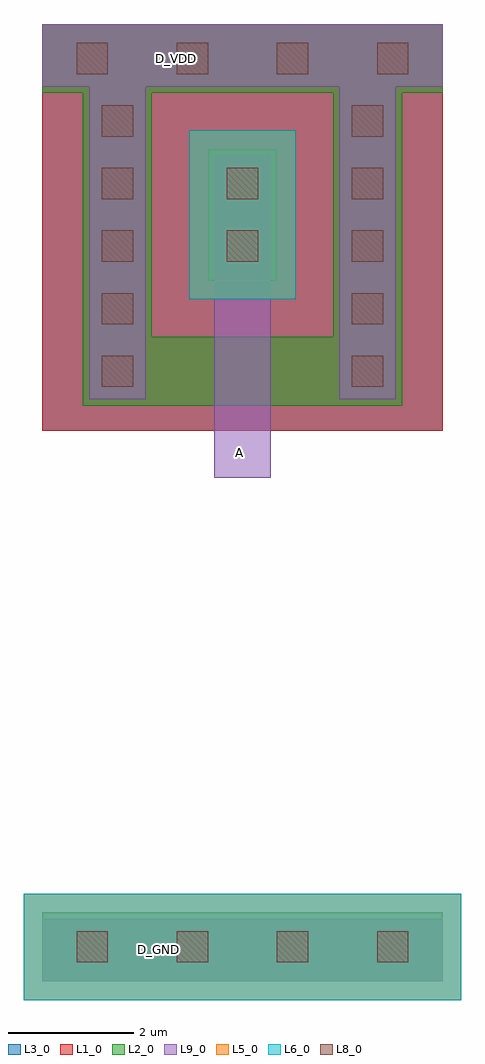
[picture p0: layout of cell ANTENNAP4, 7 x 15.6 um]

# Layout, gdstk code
import gdstk
lib = gdstk.Library(unit=1e-6, precision=1e-09)
def R(c, l, rs):  # rectangles x0, y0, x1, y1
    for r in rs: c.add(gdstk.rectangle(r[:2], r[2:], *l))
def A(c, l, x, y, w, h, nx, ny, dx, dy):  # array of equal rectangles
    R(c, l, [(x+i*dx, y+j*dy, x+i*dx+w, y+j*dy+h) for i in range(nx) for j in range(ny)])
def P(c, l, *ps):  # polygons
    for p in ps: c.add(gdstk.Polygon(p, *l))
L1_0 = (1, 0)
L2_0 = (2, 0)
L3_0 = (3, 0)
L5_0 = (5, 0)
L6_0 = (6, 0)
L8_0 = (8, 0)
L9_0 = (9, 0)

antennap4 = lib.new_cell('ANTENNAP4')
A(antennap4, L1_0, 0, 8.8, 1.6, 6.5, 4, 1, 1.6, 0)
A(antennap4, L2_0, 0, 0, 1.6, 1.1, 4, 2, 1.6, 14.2)
R(antennap4, L2_0, [(2.65,11.2,3.75,12.3), (2.65,12.2,3.75,13.3)])
P(antennap4, L2_0, [(5.75,9.2),(5.75,14.2),(4.65,14.2),(4.65,10.3),(1.75,10.3),(1.75,14.2),(5.75,14.2),(5.75,15.3),(0.65,15.3),(0.65,9.2)])
A(antennap4, L3_0, 0, 8.8, 1.6, 6.5, 4, 1, 1.6, 0)
R(antennap4, L5_0, [(-0.3,-0.3,1.6,1.4), (1.6,-0.3,3.2,1.4), (3.2,-0.3,4.8,1.4), (4.8,-0.3,6.7,1.4), (2.35,10.9,4.05,12.6), (2.35,11.9,4.05,13.6)])
R(antennap4, L6_0, [(-0.3,-0.3,1.6,1.4), (1.6,-0.3,3.2,1.4), (3.2,-0.3,4.8,1.4), (4.8,-0.3,6.7,1.4), (2.35,10.9,4.05,12.6), (2.35,11.9,4.05,13.6)])
A(antennap4, L8_0, 0.55, 0.3, 0.5, 0.5, 4, 2, 1.6, 14.2)
A(antennap4, L8_0, 0.95, 11.5, 0.5, 0.5, 3, 2, 2, 1)
R(antennap4, L8_0, [(0.95,9.5,1.45,10), (4.95,9.5,5.45,10), (0.95,10.5,1.45,11), (4.95,10.5,5.45,11), (0.95,13.5,1.45,14), (4.95,13.5,5.45,14)])
A(antennap4, L9_0, 0, 0, 1.6, 1, 4, 2, 1.6, 14.3)
R(antennap4, L9_0, [(1.4,0.05,2.3,0.95), (2.75,8.05,3.65,8.95), (2.75,8.05,3.65,12.2), (2.75,11.3,3.65,12.2), (2.75,12.2,3.65,12.3), (2.75,12.3,3.65,13.2), (1.7,14.3,2.6,15.2)])
P(antennap4, L9_0, [(1.65,9.3),(1.65,14.3),(4.75,14.3),(4.75,9.3),(5.65,9.3),(5.65,15.2),(5.6,15.2),(5.6,15),(0.75,15),(0.75,9.3)])
antennap4.add(gdstk.Label('D_GND', (1.85,0.5), layer=50, texttype=0))
antennap4.add(gdstk.Label('D_VDD', (2.15,14.75), layer=50, texttype=0))
antennap4.add(gdstk.Label('A', (3.15,8.45), layer=50, texttype=0))

lib.write_gds('ANTENNAP4.gds')
